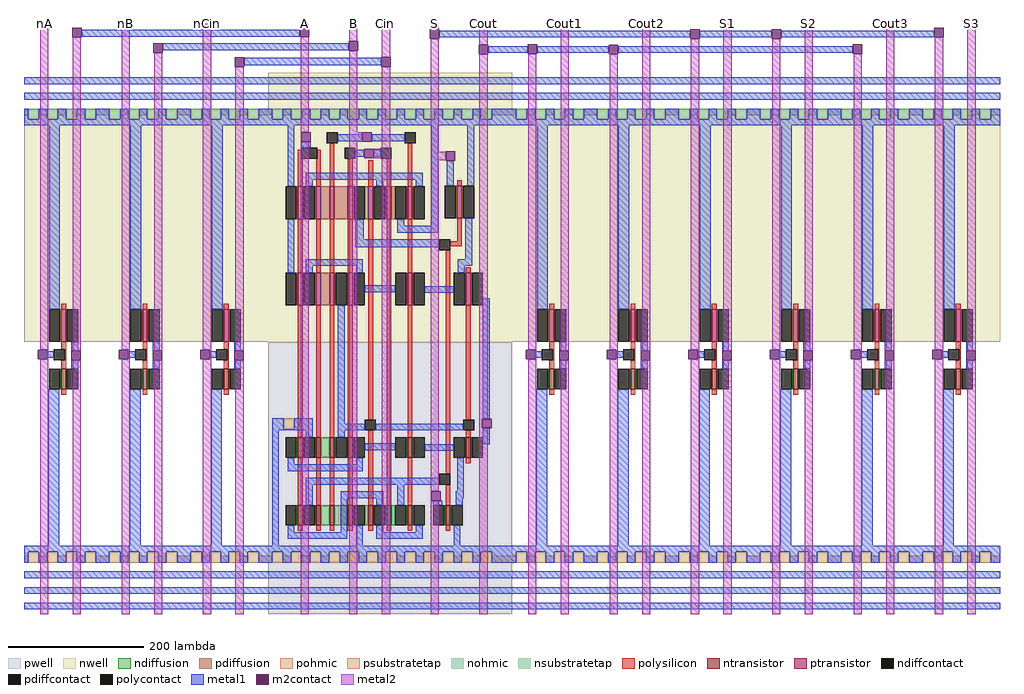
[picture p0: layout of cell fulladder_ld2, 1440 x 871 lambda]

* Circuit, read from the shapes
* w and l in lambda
.subckt fulladder_ld2 A B Cin Cout Cout1 Cout2 Cout3 GND! S S1 S2 S3 Vdd! nA nB nCin
M1 A nA GND! VSUBS nfet w=30 l=7
M2 B nB GND! VSUBS nfet w=30 l=7
M3 Cin nCin GND! VSUBS nfet w=30 l=7
M4 n1 A n2 VSUBS nfet w=30 l=7
M5 GND! A n3 VSUBS nfet w=30 l=7
M6 n4 A n1 VSUBS nfet w=30 l=7
M7 n5 A GND! VSUBS nfet w=30 l=7
M8 n6 B n4 VSUBS nfet w=30 l=7
M9 n7 B n5 VSUBS nfet w=30 l=7
M10 GND! Cin n6 VSUBS nfet w=30 l=7
M11 n3 Cin n7 VSUBS nfet w=30 l=7
M12 n2 n7 GND! VSUBS nfet w=30 l=7
M13 n1 Cin n2 VSUBS nfet w=30 l=7
M14 n2 B n1 VSUBS nfet w=30 l=7
M15 GND! B n3 VSUBS nfet w=30 l=7
M16 GND! n1 S VSUBS nfet w=30 l=7
M17 Cout n7 GND! VSUBS nfet w=30 l=7
M18 Cout1 Cout GND! VSUBS nfet w=30 l=7
M19 Cout2 Cout GND! VSUBS nfet w=30 l=7
M20 S1 S GND! VSUBS nfet w=30 l=7
M21 S2 S GND! VSUBS nfet w=30 l=7
M22 Cout3 Cout GND! VSUBS nfet w=30 l=7
M23 S3 S GND! VSUBS nfet w=30 l=7
M24 A nA Vdd! n8 pfet w=48 l=7
M25 B nB Vdd! n8 pfet w=48 l=7
M26 Cin nCin Vdd! n8 pfet w=48 l=7
M27 n9 A Vdd! n8 pfet w=48 l=7
M28 n10 A Vdd! n8 pfet w=48 l=7
M29 n11 A n9 n8 pfet w=48 l=7
M30 n12 A n10 n8 pfet w=48 l=7
M31 n7 B n11 n8 pfet w=48 l=7
M32 n13 B n12 n8 pfet w=48 l=7
M33 n9 Cin n7 n8 pfet w=48 l=7
M34 n1 Cin n13 n8 pfet w=48 l=7
M35 n10 n7 n1 n8 pfet w=48 l=7
M36 Vdd! Cin n10 n8 pfet w=48 l=7
M37 Vdd! B n9 n8 pfet w=48 l=7
M38 n10 B Vdd! n8 pfet w=48 l=7
M39 Vdd! n1 S n8 pfet w=48 l=7
M40 Cout n7 Vdd! n8 pfet w=48 l=7
M41 Cout1 Cout Vdd! n8 pfet w=48 l=7
M42 Cout2 Cout Vdd! n8 pfet w=48 l=7
M43 S1 S Vdd! n8 pfet w=48 l=7
M44 S2 S Vdd! n8 pfet w=48 l=7
M45 Cout3 Cout Vdd! n8 pfet w=48 l=7
M46 S3 S Vdd! n8 pfet w=48 l=7
.ends

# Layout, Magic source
magic
tech c035u
<< metal1 >>
rect 85 852 407 862
rect 613 851 983 861
rect 997 851 1103 861
rect 1117 851 1343 861
rect 205 832 479 842
rect 685 828 743 838
rect 757 828 863 838
rect 877 828 1223 838
rect 325 810 527 821
<< m2contact >>
rect 71 851 85 865
rect 407 852 421 866
rect 599 849 613 863
rect 983 849 997 863
rect 1103 849 1117 863
rect 1343 851 1357 865
rect 191 828 205 842
rect 479 831 493 845
rect 671 826 685 840
rect 743 827 757 841
rect 863 826 877 840
rect 1223 827 1237 841
rect 311 808 325 822
rect 527 808 541 822
<< metal2 >>
rect 24 799 36 871
rect 72 799 84 851
rect 144 799 156 871
rect 192 799 204 828
rect 264 799 276 871
rect 408 866 420 871
rect 312 799 324 808
rect 408 799 420 852
rect 480 845 492 871
rect 480 799 492 831
rect 528 822 540 871
rect 600 863 612 871
rect 528 799 540 808
rect 600 799 612 849
rect 672 840 684 871
rect 672 799 684 826
rect 744 799 756 827
rect 792 799 804 871
rect 864 799 876 826
rect 912 799 924 871
rect 984 799 996 849
rect 1032 799 1044 871
rect 1104 799 1116 849
rect 1152 799 1164 871
rect 1224 798 1236 827
rect 1272 799 1284 871
rect 1344 799 1356 851
rect 1392 799 1404 871
use inv inv_6
transform 1 0 0 0 1 0
box 0 0 120 799
use inv inv_5
transform 1 0 120 0 1 0
box 0 0 120 799
use inv inv_4
transform 1 0 240 0 1 0
box 0 0 120 799
use fulladder fulladder_0
transform 1 0 360 0 1 0
box 0 0 360 799
use inv inv_0
transform 1 0 720 0 1 0
box 0 0 120 799
use inv inv_1
transform 1 0 840 0 1 0
box 0 0 120 799
use inv inv_2
transform 1 0 960 0 1 0
box 0 0 120 799
use inv inv_3
transform 1 0 1080 0 1 0
box 0 0 120 799
use inv inv_7
transform 1 0 1200 0 1 0
box 0 0 120 799
use inv inv_8
transform 1 0 1320 0 1 0
box 0 0 120 799
<< labels >>
rlabel metal2 264 871 276 871 5 nCin
rlabel metal2 144 871 156 871 5 nB
rlabel metal2 24 871 36 871 5 nA
rlabel metal2 528 871 540 871 5 Cin
rlabel metal2 672 871 684 871 5 Cout
rlabel metal2 600 871 612 871 5 S
rlabel metal2 1152 871 1164 871 5 S2
rlabel metal2 1032 871 1044 871 5 S1
rlabel metal2 912 871 924 871 5 Cout2
rlabel metal2 792 871 804 871 5 Cout1
rlabel metal2 480 871 492 871 5 B
rlabel metal2 408 871 420 871 5 A
rlabel metal2 1272 871 1284 871 5 Cout3
rlabel metal2 1392 871 1404 871 5 S3
<< end >>

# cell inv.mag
magic
tech c035u
<< nwell >>
rect 0 402 120 746
<< polysilicon >>
rect 55 450 62 458
rect 55 391 62 402
rect 60 375 62 391
rect 55 362 62 375
rect 55 324 62 332
<< ndiffusion >>
rect 53 332 55 362
rect 62 332 64 362
<< pdiffusion >>
rect 53 402 55 450
rect 62 402 64 450
<< pohmic >>
rect 0 76 6 86
rect 22 76 34 86
rect 50 76 62 86
rect 78 76 90 86
rect 106 76 120 86
<< nohmic >>
rect 0 736 6 746
rect 22 736 34 746
rect 50 736 62 746
rect 78 736 90 746
rect 106 736 120 746
<< ntransistor >>
rect 55 332 62 362
<< ptransistor >>
rect 55 402 62 450
<< polycontact >>
rect 44 375 60 391
<< ndiffcontact >>
rect 37 332 53 362
rect 64 332 80 362
<< pdiffcontact >>
rect 37 402 53 450
rect 64 402 80 450
<< psubstratetap >>
rect 6 76 22 92
rect 34 76 50 92
rect 62 76 78 92
rect 90 76 106 92
<< nsubstratetap >>
rect 6 730 22 746
rect 34 730 50 746
rect 62 730 78 746
rect 90 730 106 746
<< metal1 >>
rect 0 782 120 792
rect 0 759 120 769
rect 0 730 6 746
rect 22 730 34 746
rect 50 730 62 746
rect 78 730 90 746
rect 106 730 120 746
rect 0 721 120 730
rect 37 450 53 721
rect 34 378 44 388
rect 70 389 80 402
rect 70 362 80 375
rect 36 101 52 332
rect 0 92 120 101
rect 0 76 6 92
rect 22 76 34 92
rect 50 76 62 92
rect 78 76 90 92
rect 106 76 120 92
rect 0 53 120 63
rect 0 30 120 40
rect 0 7 120 17
<< m2contact >>
rect 20 376 34 390
rect 70 375 84 389
<< metal2 >>
rect 24 390 36 799
rect 34 376 36 390
rect 72 389 84 799
rect 24 0 36 376
rect 72 0 84 375
<< labels >>
rlabel metal1 0 721 0 746 7 Vdd!
rlabel metal1 0 759 0 769 7 Scan
rlabel metal1 0 782 0 792 6 ScanReturn
rlabel metal1 120 721 120 746 7 Vdd!
rlabel metal1 120 759 120 769 7 Scan
rlabel metal1 120 782 120 792 6 ScanReturn
rlabel metal2 24 799 36 799 5 A
rlabel metal2 72 799 84 799 5 Y
rlabel metal1 0 76 0 101 7 GND!
rlabel metal1 0 53 0 63 7 Clock
rlabel metal1 0 30 0 40 7 Test
rlabel metal1 0 7 0 17 8 nReset
rlabel metal1 120 7 120 17 8 nReset
rlabel metal1 120 30 120 40 7 Test
rlabel metal1 120 53 120 63 7 Clock
rlabel metal1 120 76 120 101 7 GND!
rlabel metal2 24 0 36 0 1 A
rlabel metal2 72 0 84 0 1 Y
<< end >>

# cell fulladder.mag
magic
tech c035u
<< nwell >>
rect 0 401 360 799
<< pwell >>
rect 0 0 360 401
<< polysilicon >>
rect 44 672 49 685
rect 73 672 78 685
rect 44 631 51 672
rect 71 631 78 672
rect 91 631 98 695
rect 118 631 125 672
rect 148 631 155 670
rect 175 631 182 672
rect 206 631 213 695
rect 279 632 286 640
rect 44 504 51 583
rect 71 504 78 583
rect 91 504 98 583
rect 118 504 125 583
rect 44 261 51 456
rect 71 261 78 456
rect 91 261 98 456
rect 118 261 125 456
rect 148 287 155 583
rect 44 161 51 231
rect 71 161 78 231
rect 91 161 98 231
rect 118 161 125 231
rect 148 161 155 271
rect 175 161 182 583
rect 206 504 213 583
rect 279 550 286 584
rect 269 543 286 550
rect 206 261 213 456
rect 206 161 213 231
rect 262 207 269 537
rect 292 504 299 512
rect 292 287 299 456
rect 292 261 299 271
rect 292 223 299 231
rect 262 161 269 191
rect 44 123 51 131
rect 71 123 78 131
rect 91 123 98 131
rect 118 123 125 131
rect 148 123 155 131
rect 175 123 182 131
rect 206 123 213 131
rect 262 123 269 131
<< ndiffusion >>
rect 42 231 44 261
rect 51 231 53 261
rect 69 231 71 261
rect 78 231 91 261
rect 98 231 100 261
rect 116 231 118 261
rect 125 231 127 261
rect 204 231 206 261
rect 213 231 215 261
rect 290 231 292 261
rect 299 231 301 261
rect 42 131 44 161
rect 51 131 53 161
rect 69 131 71 161
rect 78 131 91 161
rect 98 131 118 161
rect 125 131 127 161
rect 143 131 148 161
rect 155 131 157 161
rect 173 131 175 161
rect 182 131 188 161
rect 204 131 206 161
rect 213 131 215 161
rect 260 131 262 161
rect 269 131 271 161
<< pdiffusion >>
rect 42 583 44 631
rect 51 583 53 631
rect 69 583 71 631
rect 78 583 91 631
rect 98 583 118 631
rect 125 583 127 631
rect 143 583 148 631
rect 155 583 157 631
rect 173 583 175 631
rect 182 583 188 631
rect 204 583 206 631
rect 213 583 215 631
rect 277 584 279 632
rect 286 584 288 632
rect 42 456 44 504
rect 51 456 53 504
rect 69 456 71 504
rect 78 456 91 504
rect 98 456 100 504
rect 116 456 118 504
rect 125 456 127 504
rect 204 456 206 504
rect 213 456 215 504
rect 290 456 292 504
rect 299 456 301 504
<< pohmic >>
rect 0 76 6 86
rect 22 76 34 86
rect 50 76 62 86
rect 78 76 90 86
rect 106 76 118 86
rect 134 76 146 86
rect 162 76 174 86
rect 190 76 202 86
rect 218 76 230 86
rect 246 76 258 86
rect 274 76 286 86
rect 302 76 314 86
rect 330 76 360 86
<< nohmic >>
rect 0 736 6 746
rect 22 736 34 746
rect 50 736 62 746
rect 78 736 90 746
rect 106 736 118 746
rect 134 736 146 746
rect 162 736 174 746
rect 190 736 202 746
rect 218 736 230 746
rect 246 736 258 746
rect 274 736 286 746
rect 302 736 314 746
rect 330 736 360 746
<< ntransistor >>
rect 44 231 51 261
rect 71 231 78 261
rect 91 231 98 261
rect 118 231 125 261
rect 206 231 213 261
rect 292 231 299 261
rect 44 131 51 161
rect 71 131 78 161
rect 91 131 98 161
rect 118 131 125 161
rect 148 131 155 161
rect 175 131 182 161
rect 206 131 213 161
rect 262 131 269 161
<< ptransistor >>
rect 44 583 51 631
rect 71 583 78 631
rect 91 583 98 631
rect 118 583 125 631
rect 148 583 155 631
rect 175 583 182 631
rect 206 583 213 631
rect 279 584 286 632
rect 44 456 51 504
rect 71 456 78 504
rect 91 456 98 504
rect 118 456 125 504
rect 206 456 213 504
rect 292 456 299 504
<< polycontact >>
rect 87 695 103 711
rect 202 695 218 711
rect 49 672 73 688
rect 113 672 129 688
rect 166 672 182 688
rect 143 271 159 287
rect 253 537 269 553
rect 288 271 304 287
rect 253 191 269 207
<< ndiffcontact >>
rect 26 231 42 261
rect 53 231 69 261
rect 100 231 116 261
rect 127 231 143 261
rect 188 231 204 261
rect 215 231 231 261
rect 274 231 290 261
rect 301 231 317 261
rect 26 131 42 161
rect 53 131 69 161
rect 127 131 143 161
rect 157 131 173 161
rect 188 131 204 161
rect 215 131 231 161
rect 244 131 260 161
rect 271 131 287 161
<< pdiffcontact >>
rect 26 583 42 631
rect 53 583 69 631
rect 127 583 143 631
rect 157 583 173 631
rect 188 583 204 631
rect 215 583 231 631
rect 261 584 277 632
rect 288 584 304 632
rect 26 456 42 504
rect 53 456 69 504
rect 100 456 116 504
rect 127 456 143 504
rect 188 456 204 504
rect 215 456 231 504
rect 274 456 290 504
rect 301 456 317 504
<< psubstratetap >>
rect 23 273 39 289
rect 6 76 22 92
rect 34 76 50 92
rect 62 76 78 92
rect 90 76 106 92
rect 118 76 134 92
rect 146 76 162 92
rect 174 76 190 92
rect 202 76 218 92
rect 230 76 246 92
rect 258 76 274 92
rect 286 76 302 92
rect 314 76 330 92
<< nsubstratetap >>
rect 6 730 22 746
rect 34 730 50 746
rect 62 730 78 746
rect 90 730 106 746
rect 118 730 134 746
rect 146 730 162 746
rect 174 730 190 746
rect 202 730 218 746
rect 230 730 246 746
rect 258 730 274 746
rect 286 730 302 746
rect 314 730 330 746
<< metal1 >>
rect 0 782 360 792
rect 0 759 360 769
rect 0 730 6 746
rect 22 730 34 746
rect 50 730 62 746
rect 78 730 90 746
rect 106 730 118 746
rect 134 730 146 746
rect 162 730 174 746
rect 190 730 202 746
rect 218 730 230 746
rect 246 730 258 746
rect 274 730 286 746
rect 302 730 314 746
rect 330 730 360 746
rect 0 721 360 730
rect 29 631 39 721
rect 49 688 63 697
rect 103 698 139 708
rect 153 698 202 708
rect 129 675 142 685
rect 156 675 166 685
rect 56 641 228 651
rect 56 631 66 641
rect 160 631 170 641
rect 218 631 228 641
rect 29 504 39 583
rect 129 553 141 583
rect 191 573 201 583
rect 241 573 251 721
rect 264 632 274 669
rect 294 632 304 721
rect 191 563 251 573
rect 129 541 253 553
rect 291 524 301 584
rect 56 514 140 524
rect 56 504 66 514
rect 130 504 140 514
rect 280 514 301 524
rect 280 504 290 514
rect 143 475 188 485
rect 231 474 274 484
rect 6 273 23 289
rect 39 273 66 289
rect 6 271 66 273
rect 6 101 16 271
rect 56 261 66 271
rect 103 281 113 456
rect 317 288 327 466
rect 103 271 143 281
rect 159 271 288 281
rect 103 261 113 271
rect 143 242 188 252
rect 231 241 274 251
rect 317 251 327 274
rect 29 221 39 231
rect 130 221 140 231
rect 29 211 140 221
rect 56 191 253 201
rect 56 161 66 191
rect 107 171 170 181
rect 29 121 39 131
rect 107 121 117 171
rect 160 161 170 171
rect 191 161 201 191
rect 279 181 289 231
rect 277 171 289 181
rect 244 161 257 167
rect 277 161 287 171
rect 29 111 117 121
rect 130 101 140 131
rect 160 121 170 131
rect 218 121 228 131
rect 160 111 228 121
rect 274 101 284 131
rect 0 92 360 101
rect 0 76 6 92
rect 22 76 34 92
rect 50 76 62 92
rect 78 76 90 92
rect 106 76 118 92
rect 134 76 146 92
rect 162 76 174 92
rect 190 76 202 92
rect 218 76 230 92
rect 246 76 258 92
rect 274 76 286 92
rect 302 76 314 92
rect 330 76 360 92
rect 0 53 360 63
rect 0 30 360 40
rect 0 7 360 17
<< m2contact >>
rect 49 697 63 711
rect 139 697 153 711
rect 142 673 156 687
rect 262 669 276 683
rect 316 274 330 288
rect 241 167 255 181
<< metal2 >>
rect 48 711 60 799
rect 120 711 132 799
rect 48 697 49 711
rect 120 697 139 711
rect 48 0 60 697
rect 120 0 132 697
rect 168 687 180 799
rect 156 673 180 687
rect 168 0 180 673
rect 240 682 252 799
rect 240 670 262 682
rect 240 181 252 670
rect 312 288 324 799
rect 312 274 316 288
rect 240 167 241 181
rect 240 0 252 167
rect 312 0 324 274
<< labels >>
rlabel metal1 360 53 360 63 7 Clock
rlabel metal1 0 53 0 63 3 Clock
rlabel metal1 360 76 360 101 7 GND!
rlabel metal1 0 76 0 101 3 GND!
rlabel metal1 0 30 0 40 3 Test
rlabel metal1 360 30 360 40 7 Test
rlabel metal1 0 7 0 17 2 nReset
rlabel metal2 120 0 132 0 1 B
rlabel metal2 168 0 180 0 1 Cin
rlabel metal2 312 0 324 0 1 Cout
rlabel metal2 240 0 252 0 1 S
rlabel metal1 360 7 360 17 8 nReset
rlabel metal1 0 759 0 769 3 Scan
rlabel metal1 360 759 360 769 7 Scan
rlabel metal2 168 799 180 799 5 Cin
rlabel metal2 120 799 132 799 5 B
rlabel metal2 48 799 60 799 5 A
rlabel metal1 0 782 0 792 3 ScanReturn
rlabel metal2 240 799 252 799 5 S
rlabel metal2 312 799 324 799 5 Cout
rlabel metal1 360 782 360 792 7 ScanReturn
rlabel metal1 0 721 0 746 3 Vdd!
rlabel metal1 360 721 360 746 7 Vdd!
rlabel metal2 48 0 60 0 1 A
<< end >>
